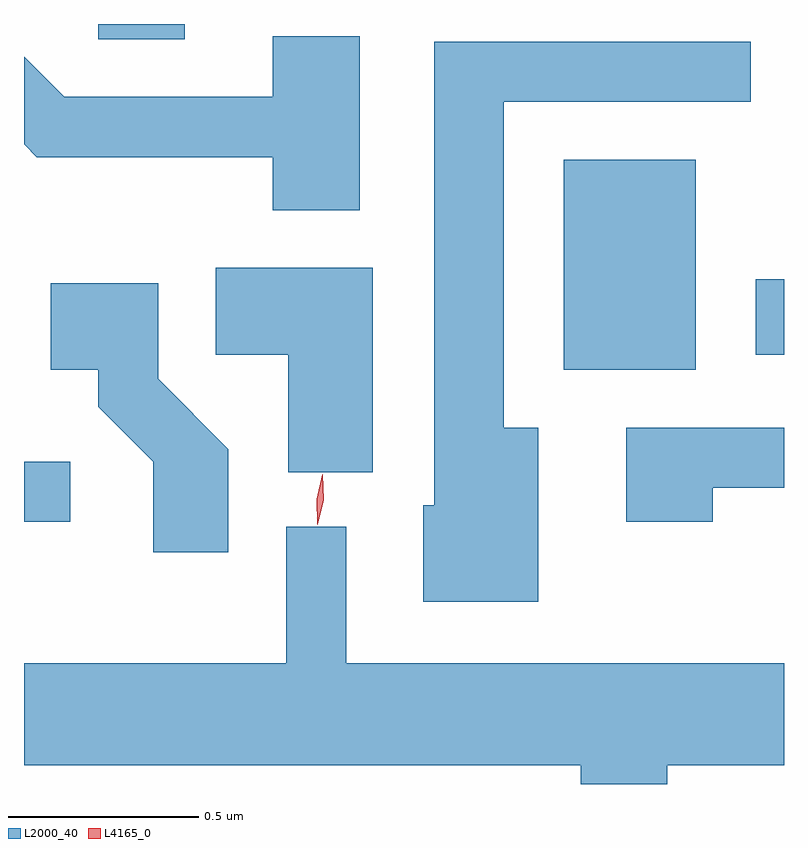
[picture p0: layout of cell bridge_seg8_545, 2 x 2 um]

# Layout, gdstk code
import gdstk
lib = gdstk.Library(unit=1e-6, precision=1e-09)
def R(c, l, rs):  # rectangles x0, y0, x1, y1
    for r in rs: c.add(gdstk.rectangle(r[:2], r[2:], *l))
def P(c, l, *ps):  # polygons
    for p in ps: c.add(gdstk.Polygon(p, *l))
L2000_40 = (2000, 40)
L4165_0 = (4165, 0)

bridge_seg8_545 = lib.new_cell('bridge_seg8_545')
R(bridge_seg8_545, L2000_40, [(250.106,1868.136,250.228,1868.294), (251.526,1868.536,251.874,1869.089), (252.031,1868.576,252.106,1868.774), (250.301,1869.406,250.529,1869.446)])
P(bridge_seg8_545, L2000_40, [(250.989,1869.414),(250.761,1869.414),(250.761,1869.254),(250.212,1869.254),(250.106,1869.36),(250.106,1869.129),(250.139,1869.096),(250.761,1869.096),(250.761,1868.956),(250.989,1868.956)],
  [(251.459,1868.384),(251.369,1868.384),(251.369,1869.241),(252.018,1869.241),(252.018,1869.399),(251.186,1869.399),(251.186,1868.179),(251.156,1868.179),(251.156,1867.926),(251.459,1867.926)],
  [(251.024,1868.804),(250.611,1868.804),(250.611,1868.576),(250.801,1868.576),(250.801,1868.266),(251.024,1868.266)],
  [(250.644,1868.327),(250.459,1868.512),(250.459,1868.764),(250.176,1868.764),(250.176,1868.536),(250.301,1868.536),(250.301,1868.439),(250.446,1868.294),(250.446,1868.056),(250.644,1868.056)],
  [(251.919,1868.226),(252.106,1868.226),(252.106,1868.384),(251.691,1868.384),(251.691,1868.136),(251.919,1868.136)],
  [(251.799,1867.496),(252.106,1867.496),(252.106,1867.764),(250.954,1867.764),(250.954,1868.123),(250.796,1868.123),(250.796,1867.764),(250.106,1867.764),(250.106,1867.496),(251.571,1867.496),(251.571,1867.446),(251.799,1867.446)])
P(bridge_seg8_545, L4165_0, [(250.879,1868.128),(250.878,1868.129),(250.876,1868.196),(250.891,1868.26),(250.892,1868.261),(250.892,1868.26),(250.895,1868.194),(250.879,1868.129)])

lib.write_gds('bridge_seg8_545.gds')
